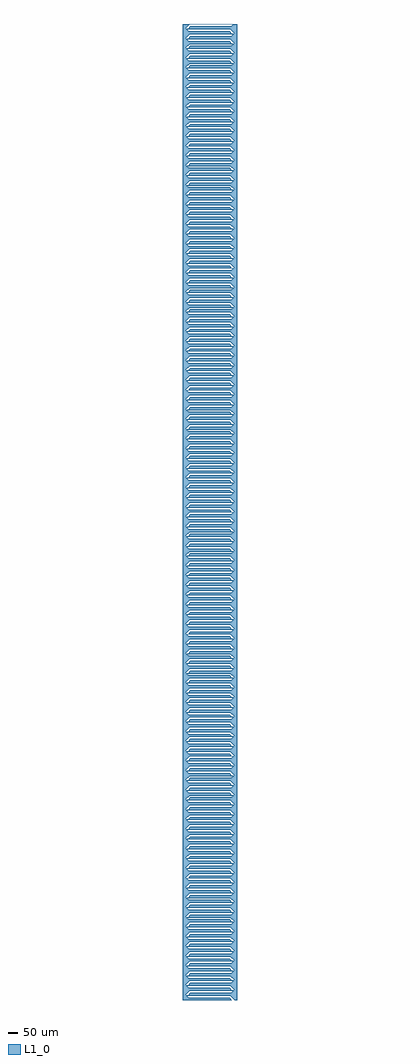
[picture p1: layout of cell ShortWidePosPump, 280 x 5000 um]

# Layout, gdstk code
from math import pi, radians
import gdstk
lib = gdstk.Library(unit=1e-6, precision=1e-09)
def P(c, l, *ps):  # polygons
    for p in ps: c.add(gdstk.Polygon(p, *l))
L1_0 = (1, 0)

widepositiveelectrode = lib.new_cell('WidePositiveElectrode')
P(widepositiveelectrode, L1_0, [(140,-17.5),(140,7.5),(-140,7.5),(-140,-17.5),(-127.5,-17.5),(-105,5),(120,5),(110,-5),(-100,-5),(-112.5,-17.5)])

widepositiveelectrodepai = lib.new_cell('WidePositiveElectrodePair')
widepositiveelectrodepai.add(gdstk.Reference(widepositiveelectrode, (0,12.5)))
widepositiveelectrodepai.add(gdstk.Reference(widepositiveelectrode, (0,-12.5), rotation=pi, x_reflection=True))

shortwidepospump = lib.new_cell('ShortWidePosPump')
r = gdstk.Reference(widepositiveelectrodepai, (0,-2500)); r.repetition = gdstk.Repetition(1, 100, v1=(0,0), v2=(0,50)); shortwidepospump.add(r)

lib.write_gds('ShortWidePosPump.gds')
